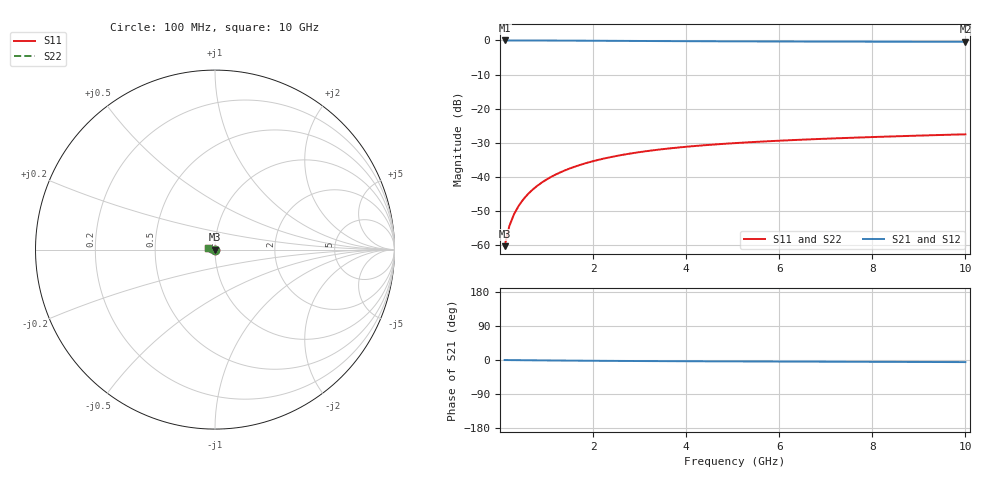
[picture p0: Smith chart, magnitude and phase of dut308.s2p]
! Touchstone file exported from HFSS 2024.1.0
!  File:  C:/UserFiles/LocalFiles/RDL_TSV_Batchsim/temp_TSV1_308_1779615603.aedt
!  Generated:  05:47:05 PM May 24, 2026
!  Design:  TSV1
!  Project:  temp_TSV1_308_1779615603
!  Setup:  Setup1
!  Solution:  Sweep
! Variables:
!  dtsv = 7.36um
!  hbump = 3um
!  htsv = 86.81um
!  lrdl = 252.1521522um
!  p = 40
!  p1 = 44.72um
!  t = 500um
!  trdl = 3um
!  wrdl = 24.89489489um
# GHz S MA R 50.000000
! Terminal data exported
! Port[1] = TSV22_T1
! Port[2] = TSV22_T2
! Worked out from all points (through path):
!   100 points, 100 MHz to 10 GHz, reference 50 ohm
!   highest |S21| = 0.00 dB at 100 MHz (marker M1); lowest = -0.4 dB at 10 GHz (marker M2)
!   lowest |S11| = -60.2 dB at 100 MHz (marker M3), VSWR 1.00, Z = 50 - j0.0943 ohm
!   |S11| at or under -10 dB: start of sweep to end of sweep
!   |S22| runs from -60.2 to -27.5 dB; largest |S21 - S12| = 9.4e-15
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0.1  0.000976 -75.0  0.9997 -0.1  0.9997 -0.1  0.000976 -75.0
! Gamma 0 0 0 0
! Port Impedance 50 0 50 0
0.2  0.001906 -84.9  0.9996 -0.2  0.9996 -0.2  0.001906 -84.9
0.3  0.002844 -89.5  0.9994 -0.3  0.9994 -0.3  0.002844 -89.5
0.4  0.003779 -92.7  0.9992 -0.5  0.9992 -0.5  0.003779 -92.7
0.5  0.004709 -95.3  0.9989 -0.6  0.9989 -0.6  0.004709 -95.3
0.6  0.005631 -97.7  0.9986 -0.7  0.9986 -0.7  0.005631 -97.7
0.7  0.006545 -99.8  0.9983 -0.8  0.9983 -0.8  0.006545 -99.8
0.8  0.007447 -101.9  0.9978 -0.9  0.9978 -0.9  0.007447 -101.9
0.9  0.008338 -103.8  0.9974 -1.0  0.9974 -1.0  0.008338 -103.8
1.1  0.01008 -107.5  0.9963 -1.2  0.9963 -1.2  0.01008 -107.5
1.4  0.01258 -112.8  0.9945 -1.5  0.9945 -1.5  0.01258 -112.8
1.6  0.01416 -116.2  0.9931 -1.7  0.9931 -1.7  0.01416 -116.2
1.8  0.01567 -119.4  0.9916 -1.9  0.9916 -1.9  0.01567 -119.4
2.1  0.01779 -124.0  0.9893 -2.1  0.9893 -2.1  0.01779 -124.0
2.5  0.02037 -129.8  0.9862 -2.4  0.9862 -2.4  0.02037 -129.8
2.9  0.02268 -135.2  0.9831 -2.7  0.9831 -2.7  0.02268 -135.2
3.4  0.0252 -141.3  0.9795 -3.0  0.9795 -3.0  0.0252 -141.3
4.2  0.02856 -150.2  0.9742 -3.4  0.9742 -3.4  0.02856 -150.2
5.1  0.0316 -158.7  0.9693 -3.7  0.9693 -3.7  0.0316 -158.7
6.7  0.03579 -171.4  0.9629 -4.3  0.9629 -4.3  0.03579 -171.4
8.4  0.03935 177.7  0.9582 -5.0  0.9582 -5.0  0.03935 177.7
10  0.04232 169.2  0.9551 -5.5  0.9551 -5.5  0.04232 169.2
